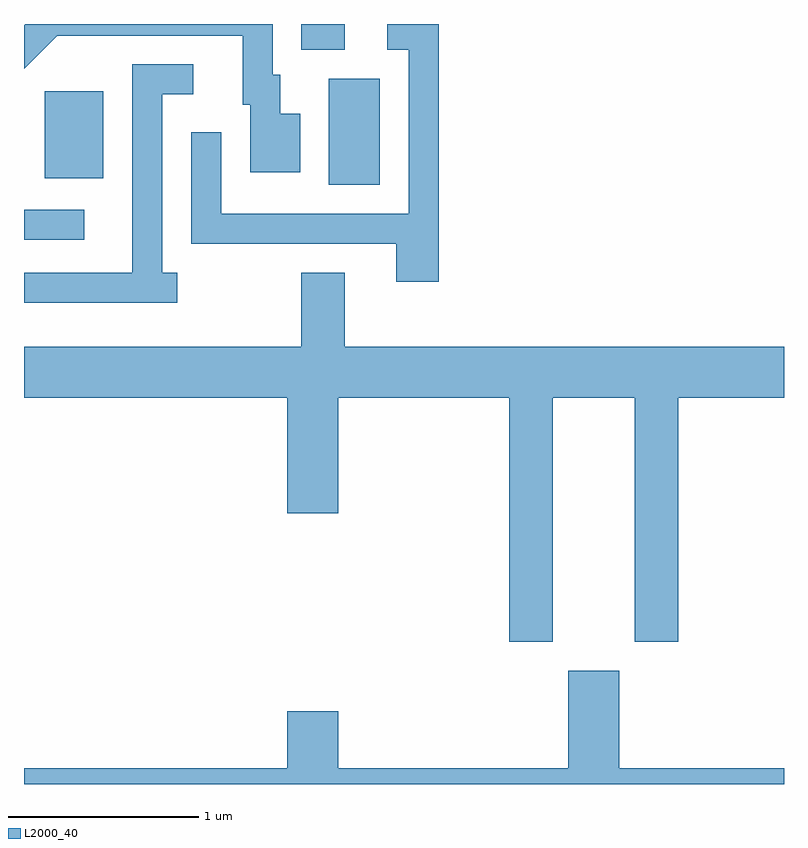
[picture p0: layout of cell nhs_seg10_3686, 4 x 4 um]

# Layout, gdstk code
import gdstk
lib = gdstk.Library(unit=1e-6, precision=1e-09)
def R(c, l, rs):  # rectangles x0, y0, x1, y1
    for r in rs: c.add(gdstk.rectangle(r[:2], r[2:], *l))
def P(c, l, *ps):  # polygons
    for p in ps: c.add(gdstk.Polygon(p, *l))
L2000_40 = (2000, 40)

nhs_seg10_3686 = lib.new_cell('nhs_seg10_3686')
R(nhs_seg10_3686, L2000_40, [(293.611,2141.386,293.928,2141.544), (295.216,2141.676,295.484,2142.234), (293.721,2141.711,294.029,2142.169), (295.071,2142.386,295.299,2142.522)])
P(nhs_seg10_3686, L2000_40, [(295.064,2142.049),(294.959,2142.049),(294.959,2142.254),(294.919,2142.254),(294.919,2142.522),(293.617,2142.522),(293.611,2142.516),(293.611,2142.286),(293.787,2142.461),(294.761,2142.461),(294.761,2142.096),(294.801,2142.096),(294.801,2141.741),(295.064,2141.741)],
  [(295.794,2142.522),(295.523,2142.522),(295.523,2142.386),(295.636,2142.386),(295.636,2141.524),(294.649,2141.524),(294.649,2141.953),(294.491,2141.953),(294.491,2141.366),(295.571,2141.366),(295.571,2141.166),(295.794,2141.166)],
  [(294.418,2141.214),(294.339,2141.214),(294.339,2142.151),(294.503,2142.151),(294.503,2142.309),(294.181,2142.309),(294.181,2141.214),(293.611,2141.214),(293.611,2141.056),(294.418,2141.056)],
  [(296.394,2140.556),(296.826,2140.556),(296.826,2139.271),(297.054,2139.271),(297.054,2140.556),(297.611,2140.556),(297.611,2140.824),(295.299,2140.824),(295.299,2141.214),(295.071,2141.214),(295.071,2140.824),(293.611,2140.824),(293.611,2140.556),(294.996,2140.556),(294.996,2139.946),(295.264,2139.946),(295.264,2140.556),(296.166,2140.556),(296.166,2139.271),(296.394,2139.271)],
  [(297.611,2138.604),(296.744,2138.604),(296.744,2139.119),(296.476,2139.119),(296.476,2138.604),(295.264,2138.604),(295.264,2138.904),(294.996,2138.904),(294.996,2138.604),(293.611,2138.604),(293.611,2138.522),(297.611,2138.522)])

lib.write_gds('nhs_seg10_3686.gds')
